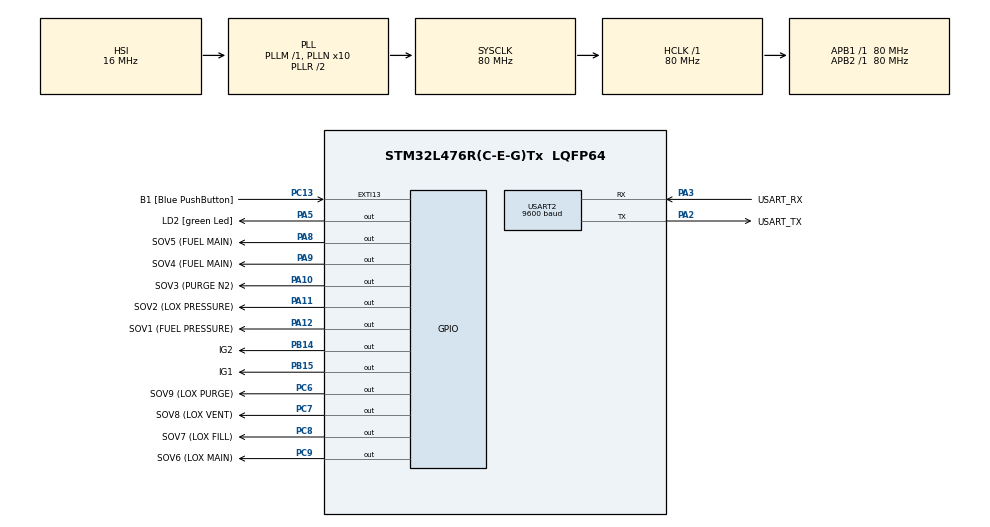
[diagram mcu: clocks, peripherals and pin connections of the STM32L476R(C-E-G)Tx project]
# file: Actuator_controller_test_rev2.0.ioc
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Mcu.Family=STM32L4
Mcu.Name=STM32L476R(C-E-G)Tx
Mcu.Package=LQFP64
NVIC.PriorityGroup=NVIC_PRIORITYGROUP_4
NVIC.USART2_IRQn=true\:0\:0\:false\:false\:true\:true\:true
PA10.GPIO_Label=SOV3 (PURGE N2)
PA10.Signal=GPIO_Output
PA11.GPIO_Label=SOV2 (LOX PRESSURE)
PA11.Signal=GPIO_Output
PA12.GPIO_Label=SOV1 (FUEL PRESSURE)
PA12.Signal=GPIO_Output
PA13\ (JTMS-SWDIO).GPIO_Label=TMS
PA13\ (JTMS-SWDIO).Mode=Serial_Wire
PA13\ (JTMS-SWDIO).Signal=SYS_JTMS-SWDIO
PA14\ (JTCK-SWCLK).GPIO_Label=TCK
PA14\ (JTCK-SWCLK).Mode=Serial_Wire
PA14\ (JTCK-SWCLK).Signal=SYS_JTCK-SWCLK
PA2.GPIO_Label=USART_TX
PA2.GPIO_Mode=GPIO_MODE_AF_PP
PA2.GPIO_PuPd=GPIO_NOPULL
PA2.GPIO_Speed=GPIO_SPEED_FREQ_VERY_HIGH
PA2.Mode=Asynchronous
PA2.Signal=USART2_TX
PA3.GPIO_Label=USART_RX
PA3.GPIO_Mode=GPIO_MODE_AF_PP
PA3.GPIO_PuPd=GPIO_NOPULL
PA3.GPIO_Speed=GPIO_SPEED_FREQ_VERY_HIGH
PA3.Mode=Asynchronous
PA3.Signal=USART2_RX
PA5.GPIO_Label=LD2 [green Led]
PA5.GPIO_ModeDefaultOutputPP=GPIO_MODE_OUTPUT_PP
PA5.GPIO_PuPd=GPIO_NOPULL
PA5.GPIO_Speed=GPIO_SPEED_FREQ_LOW
PA5.Signal=GPIO_Output
PA8.GPIO_Label=SOV5 (FUEL MAIN)
PA8.Signal=GPIO_Output
PA9.GPIO_Label=SOV4 (FUEL MAIN)
PA9.Signal=GPIO_Output
PB14.GPIO_Label=IG2
PB14.Signal=GPIO_Output
PB15.GPIO_Label=IG1
PB15.Signal=GPIO_Output
PB3\ (JTDO-TRACESWO).GPIO_Label=SWO
PB3\ (JTDO-TRACESWO).Signal=SYS_JTDO-SWO
PC13.GPIO_Label=B1 [Blue PushButton]
PC13.GPIO_ModeDefaultEXTI=GPIO_MODE_IT_FALLING
PC13.GPIO_PuPd=GPIO_NOPULL
PC13.Signal=GPXTI13
PC14-OSC32_IN\ (PC14).Mode=LSE-External-Oscillator
PC14-OSC32_IN\ (PC14).Signal=RCC_OSC32_IN
PC15-OSC32_OUT\ (PC15).Mode=LSE-External-Oscillator
PC15-OSC32_OUT\ (PC15).Signal=RCC_OSC32_OUT
PC6.GPIO_Label=SOV9 (LOX PURGE)
PC6.Signal=GPIO_Output
PC7.GPIO_Label=SOV8 (LOX VENT)
PC7.Signal=GPIO_Output
PC8.GPIO_Label=SOV7 (LOX FILL)
PC8.Signal=GPIO_Output
PC9.GPIO_Label=SOV6 (LOX MAIN)
PC9.Signal=GPIO_Output
PH0-OSC_IN\ (PH0).Signal=RCC_OSC_IN
PH1-OSC_OUT\ (PH1).Signal=RCC_OSC_OUT
ProjectManager.HeapSize=0x200
ProjectManager.StackSize=0x400
ProjectManager.TargetToolchain=STM32CubeIDE
RCC.ADCFreq_Value=64000000
RCC.AHBFreq_Value=80000000
RCC.APB1Freq_Value=80000000
RCC.APB1TimFreq_Value=80000000
RCC.APB2Freq_Value=80000000
RCC.APB2TimFreq_Value=80000000
RCC.CortexFreq_Value=80000000
RCC.HCLKFreq_Value=80000000
RCC.HSE_VALUE=8000000
RCC.HSI_VALUE=16000000
RCC.MSI_VALUE=4000000
RCC.PLLN=10
RCC.PLLSourceVirtual=RCC_PLLSOURCE_HSI
RCC.PREFETCH_ENABLE=1
RCC.SYSCLKFreq_VALUE=80000000
RCC.SYSCLKSource=RCC_SYSCLKSOURCE_PLLCLK
RCC.USBFreq_Value=64000000
RCC.VCOOutputFreq_Value=160000000
USART2.BaudRate=9600
USART2.VirtualMode-Asynchronous=VM_ASYNC
board=NUCLEO-L476RG

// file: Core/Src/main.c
/* USER CODE BEGIN Header */
/**
  ******************************************************************************
  * @file           : main.c
  * @brief          : Main program body
  ******************************************************************************
  * @attention
  *
  * <h2><center>&copy; Copyright (c) 2021 STMicroelectronics.
  * All rights reserved.</center></h2>
  *
  * This software component is licensed by ST under BSD 3-Clause license,
  * the "License"; You may not use this file except in compliance with the
  * License. You may obtain a copy of the License at:
  *                        opensource.org/licenses/BSD-3-Clause
  *
  ******************************************************************************
  */
/* USER CODE END Header */
#include "main.h"

UART_HandleTypeDef huart2;

/* USER CODE BEGIN PV */
int len, command;
char buffer[100], Tx_buffer[100];
char Rx_indx, Rx_data[2], Rx_Buffer[100], Transfer_cplt ;
int sov1 = 0, sov2= 0, sov3= 0, sov4= 0, sov5= 0, sov6= 0, sov7= 0, sov8= 0, sov9=0, ig1= 0, ig2 =0 ;

/* USER CODE END PV */

void SystemClock_Config(void);
static void MX_GPIO_Init(void);
static void MX_USART2_UART_Init(void);
/* USER CODE BEGIN PFP */
//Interrupt callback routine
void HAL_UART_RxCpltCallback(UART_HandleTypeDef *huart)
{
    uint8_t i;
    if (huart->Instance == USART2)
        {
        if (Rx_indx==0) {for (i=0;i<100;i++) Rx_Buffer[i]=0;}   //clear Rx_Buffer before receiving new data

        if (Rx_data[0] != 13) //if received data different from ascii 13 (enter)
            {
            Rx_Buffer[Rx_indx++]=Rx_data[0];    //add data to Rx_Buffer
            }
        else            //if received data = 13
            {
            Rx_indx=0;
            Transfer_cplt = 1;//transfer complete, data is ready to read
            }

        HAL_UART_Receive_IT(&huart2, Rx_data, 1);   //activate UART receive interrupt every time
        }

}
// Transmit function
void Tx_serial(Tx_buffer)
{
	  sprintf(buffer, Tx_buffer);
	  len =strlen(buffer);
	  HAL_UART_Transmit(&huart2, buffer, len, 1000);
	  Transfer_cplt=0; //Set to 0 to reset the transfer_complete variable

}

/* USER CODE END PFP */

int main(void)
{

  /* MCU Configuration--------------------------------------------------------*/

  /* Reset of all peripherals, Initializes the Flash interface and the Systick. */
  HAL_Init();

  /* Configure the system clock */
  SystemClock_Config();

  /* Initialize all configured peripherals */
  MX_GPIO_Init();
  MX_USART2_UART_Init();
  /* USER CODE BEGIN 2 */

  HAL_UART_Receive_IT(&huart2,Rx_data, 1); // Asserts UART Interrupt every time 1 byte is received.

  /* USER CODE END 2 */

  /* Infinite loop */
  while (1)
  {

    /* USER CODE BEGIN 3 */
	  if (Transfer_cplt)
	      {
	     	 command = atoi(Rx_Buffer);

	     	 switch (command){
	     	 	 case 1:
	     	 		//Turn ON           //For testing with LD2
	     	 			     	 		HAL_GPIO_WritePin(GPIOA, GPIO_PIN_12, GPIO_PIN_SET);

	     	 			     	 	  //Checking if the GPIO pin is high in case of errors
	     	 			     	 	  if (HAL_GPIO_ReadPin(GPIOA, GPIO_PIN_12) == GPIO_PIN_SET)
	     	 			     	 	  	  {
	     	 			     	 	  	     	 //Tx_serial("Valve SOV1 is ON..\r\n");
	     	 			     	 	  	     	 sov1 = 1;
	     	 			     	 	  	   }
	     	 			     	 	  	else if (HAL_GPIO_ReadPin(GPIOA, GPIO_PIN_12) == GPIO_PIN_RESET)
	     	 			     	 	  	{
	     	 			     	 	  	    // GPIO pin was low reattempting to set high
	     	 			     	 	  	    HAL_GPIO_WritePin(GPIOA, GPIO_PIN_12, GPIO_PIN_SET);
	     	 			     	 	  	    sov1 = 1;
	     	 			     	 	  	}

	     	 	    Transfer_cplt=0; //Set to 0 to reset the transfer_complete variable
	     	 		break;

	     	 	 case 2:
	     	 		 //Turn OFF
	     	 			     	 		HAL_GPIO_WritePin(GPIOA, GPIO_PIN_12, GPIO_PIN_RESET);

	     	 			     	 		//Checking if the GPIO pin is high
	     	 			     	 	    if (HAL_GPIO_ReadPin(GPIOA, GPIO_PIN_12) == GPIO_PIN_SET)
	     	 			     	 	    {
	     	 			     	 	    	      HAL_GPIO_WritePin(GPIOA, GPIO_PIN_12, GPIO_PIN_RESET);
	     	 			     	 			      sov1 = 0;
	     	 			     	 	     }
	     	 			     	 	    else if (HAL_GPIO_ReadPin(GPIOA, GPIO_PIN_12) == GPIO_PIN_RESET)
	     	 			     	 		{
	     	 			     	 			  sov1 = 0;

	     	 			     	 		}

	     	 		Transfer_cplt=0; //Set to 0 to reset the transfer_complete variable
	     	 		break;
	     	 	 case 3:
	     	 		//Turn ON
	     	 			     	 		HAL_GPIO_WritePin(GPIOA, GPIO_PIN_11, GPIO_PIN_SET);

	     	 			     	 	  //Checking if the GPIO pin is high in case of errors
	     	 			     	 	  if (HAL_GPIO_ReadPin(GPIOA, GPIO_PIN_11) == GPIO_PIN_SET)
	     	 			     	 	  	  {
	     	 			     	 	  	     	 //Tx_serial("Valve SOV1 is ON..\r\n");
	     	 			     	 	  	     	 sov2 = 1;
	     	 			     	 	  	   }
	     	 			     	 	  	else if (HAL_GPIO_ReadPin(GPIOA, GPIO_PIN_11) == GPIO_PIN_RESET)
	     	 			     	 	  	{
	     	 			     	 	  	    // GPIO pin was low reattempting to set high
	     	 			     	 	  	    HAL_GPIO_WritePin(GPIOA, GPIO_PIN_11, GPIO_PIN_SET);
	     	 			     	 	  	    sov2 = 1;
	     	 			     	 	  	}

	     	 		Transfer_cplt=0; //Set to 0 to reset the transfer_complete variable
	     	 		break;
	     	 	 case 4:
	     	 		 //Turn OFF
	     	 			     	 		HAL_GPIO_WritePin(GPIOA, GPIO_PIN_11, GPIO_PIN_RESET);

	     	 			     	 		//Checking if the GPIO pin is high
	     	 			     	 	    if (HAL_GPIO_ReadPin(GPIOA, GPIO_PIN_11) == GPIO_PIN_SET)
	     	 			     	 	    {
	     	 			     	 	    	      HAL_GPIO_WritePin(GPIOA, GPIO_PIN_11, GPIO_PIN_RESET);
	     	 			     	 			      sov2 = 0;
	     	 			     	 	     }
	     	 			     	 	    else if (HAL_GPIO_ReadPin(GPIOA, GPIO_PIN_11) == GPIO_PIN_RESET)
	     	 			     	 		{
	     	 			     	 			  sov2 = 0;

	     	 			     	 		}

	     	 		Transfer_cplt=0; //Set to 0 to reset the transfer_complete variable
	     	 		break;
	     	 	 case 5:
	     	 		                    //Turn ON
	     	 			     	 		HAL_GPIO_WritePin(GPIOA, GPIO_PIN_10, GPIO_PIN_SET);

	     	 			     	 	  //Checking if the GPIO pin is high in case of errors
	     	 			     	 	  if (HAL_GPIO_ReadPin(GPIOA, GPIO_PIN_10) == GPIO_PIN_SET)
	     	 			     	 	  	  {
	     	 			     	 	  	     	 //Tx_serial("Valve SOV1 is ON..\r\n");
	     	 			     	 	  	     	 sov3 = 1;
	     	 			     	 	  	   }
	     	 			     	 	  	else if (HAL_GPIO_ReadPin(GPIOA, GPIO_PIN_10) == GPIO_PIN_RESET)
	     	 			     	 	  	{
	     	 			     	 	  	    // GPIO pin was low reattempting to set high
	     	 			     	 	  	    HAL_GPIO_WritePin(GPIOA, GPIO_PIN_10, GPIO_PIN_SET);
	     	 			     	 	  	    sov3 = 1;
	     	 			     	 	  	}

	     	 		Transfer_cplt=0;
	     	 		break;
	     	 	 case 6:
	     	 		                     //Turn OFF
	     	 			     	 		 HAL_GPIO_WritePin(GPIOA, GPIO_PIN_10, GPIO_PIN_RESET);

	     	 			     	 		//Checking if the GPIO pin is high
	     	 			     	 		if (HAL_GPIO_ReadPin(GPIOA, GPIO_PIN_10) == GPIO_PIN_SET)
	     	 			     	 		{
	     	 			     	 			 HAL_GPIO_WritePin(GPIOA, GPIO_PIN_10, GPIO_PIN_RESET);
	     	 			     	 			 sov3 = 0;
	     	 			     	 		}
	     	 			     	 		else if (HAL_GPIO_ReadPin(GPIOA, GPIO_PIN_10) == GPIO_PIN_RESET)
	     	 			     	 		{
	     	 			     	 			  sov3 = 0;

	     	 			     	 		}
	     	 		Transfer_cplt=0;
	     	 		break;
	     	 	 case 7:
	     	 		                   //Turn ON
	     	 			     	 		HAL_GPIO_WritePin(GPIOA, GPIO_PIN_9, GPIO_PIN_SET);

	     	 			     	 		//Checking if the GPIO pin is high in case of errors
	     	 			     	 		if (HAL_GPIO_ReadPin(GPIOA, GPIO_PIN_9) == GPIO_PIN_SET)
	     	 			     	 			{
	     	 			     	 			     	 sov4 = 1;
	     	 			     	 			 }
	     	 			     	 		else if (HAL_GPIO_ReadPin(GPIOA, GPIO_PIN_9) == GPIO_PIN_RESET)
	     	 			     	 			  {
	     	 			     	 			      // GPIO pin was low reattempting to set high
	     	 			     	 			     HAL_GPIO_WritePin(GPIOA, GPIO_PIN_9, GPIO_PIN_SET);
	     	 			     	 			     sov4 = 1;
	     	 			     	 			    }
	     	    	Transfer_cplt=0;
	     	    	 break;
	     	 	 case 8:
	     	 		                     //Turn OFF
	     	 			     	 		 HAL_GPIO_WritePin(GPIOA, GPIO_PIN_9, GPIO_PIN_RESET);

	     	 			     	 		//Checking if the GPIO pin is high
	     	 			     	 		if (HAL_GPIO_ReadPin(GPIOA, GPIO_PIN_9) == GPIO_PIN_SET)
	     	 			     	 		{
	     	 			     	 			 HAL_GPIO_WritePin(GPIOA, GPIO_PIN_9, GPIO_PIN_RESET);
	     	 			     	 			 sov4 = 0;
	     	 			     	 		}
	     	 			     	 		else if (HAL_GPIO_ReadPin(GPIOA, GPIO_PIN_9) == GPIO_PIN_RESET)
	     	 			     	 		{
	     	 			     	 			  sov4 = 0;

	     	 			     	 		}

	     	    	 Transfer_cplt=0;
	     	    	 break;
	     	 	 case 9:
	     	 		//Turn ON
	     	 			     	 		HAL_GPIO_WritePin(GPIOA, GPIO_PIN_8, GPIO_PIN_SET);

	     	 			     	 	  //Checking if the GPIO pin is high in case of errors
	     	 			     	 	  if (HAL_GPIO_ReadPin(GPIOA, GPIO_PIN_8) == GPIO_PIN_SET)
	     	 			     	 	  	  {
	     	 			     	 	  	     	 //Tx_serial("Valve SOV1 is ON..\r\n");
	     	 			     	 	  	     	 sov5 = 1;
	     	 			     	 	  	   }
	     	 			     	 	  	else if (HAL_GPIO_ReadPin(GPIOA, GPIO_PIN_8) == GPIO_PIN_RESET)
	     	 			     	 	  	{
	     	 			     	 	  	    // GPIO pin was low reattempting to set high
	     	 			     	 	  	    HAL_GPIO_WritePin(GPIOA, GPIO_PIN_8, GPIO_PIN_SET);
	     	 			     	 	  	    sov5 = 1;
	     	 			     	 	  	}

	     	    	 Transfer_cplt=0;
	     	    	 break;
	     	 	 case 10:
	     	 		 //Turn OFF
	     	 			     	 		HAL_GPIO_WritePin(GPIOA, GPIO_PIN_8, GPIO_PIN_RESET);

	     	 			     	 		//Checking if the GPIO pin is high
	     	 			     	 	    if (HAL_GPIO_ReadPin(GPIOA, GPIO_PIN_8) == GPIO_PIN_SET)
	     	 			     	 	    {
	     	 			     	 	    	      HAL_GPIO_WritePin(GPIOA, GPIO_PIN_8, GPIO_PIN_RESET);
	     	 			     	 			      sov5 = 0;
	     	 			     	 	     }
	     	 			     	 	    else if (HAL_GPIO_ReadPin(GPIOA, GPIO_PIN_8) == GPIO_PIN_RESET)
	     	 			     	 		{
	     	 			     	 			  sov5 = 0;

	     	 			     	 		}
	     	 		Transfer_cplt=0;
	     	 		break;
	     	 	 case 11:
	     	 		//Turn ON
	     	 			     	 		HAL_GPIO_WritePin(GPIOC, GPIO_PIN_9, GPIO_PIN_SET);

	     	 			     	 	  //Checking if the GPIO pin is high in case of errors
	     	 			     	 	  if (HAL_GPIO_ReadPin(GPIOC, GPIO_PIN_9) == GPIO_PIN_SET)
	     	 			     	 	  	  {
	     	 			     	 	  	     	 //Tx_serial("Valve SOV1 is ON..\r\n");
	     	 			     	 	  	     	 sov6 = 1;
	     	 			     	 	  	   }
	     	 			     	 	  	else if (HAL_GPIO_ReadPin(GPIOC, GPIO_PIN_9) == GPIO_PIN_RESET)
	     	 			     	 	  	{
	     	 			     	 	  	    // GPIO pin was low reattempting to set high
	     	 			     	 	  	    HAL_GPIO_WritePin(GPIOC, GPIO_PIN_9, GPIO_PIN_SET);
	     	 			     	 	  	    sov6 = 1;
	     	 			     	 	  	}

	     	 		Transfer_cplt=0;
	     	 		break;
	     	 	 case 12:
	     	 		 //Turn OFF
	     	 			     	 		HAL_GPIO_WritePin(GPIOC, GPIO_PIN_9, GPIO_PIN_RESET);

	     	 			     	 		//Checking if the GPIO pin is high
	     	 			     	 	    if (HAL_GPIO_ReadPin(GPIOC, GPIO_PIN_9) == GPIO_PIN_SET)
	     	 			     	 	    {
	     	 			     	 	    	      HAL_GPIO_WritePin(GPIOC, GPIO_PIN_9, GPIO_PIN_RESET);
	     	 			     	 			      sov6 = 0;
	     	 			     	 	     }
	     	 			     	 	    else if (HAL_GPIO_ReadPin(GPIOC, GPIO_PIN_9) == GPIO_PIN_RESET)
	     	 			     	 		{
	     	 			     	 			  sov6 = 0;

	     	 			     	 		}
	     	 	     Transfer_cplt=0;
	     	 		 break;
	     	 	 case 13:
	     	 		//Turn ON
	     	 			     	 		HAL_GPIO_WritePin(GPIOC, GPIO_PIN_8, GPIO_PIN_SET);

	     	 			     	 	  //Checking if the GPIO pin is high in case of errors
	     	 			     	 	  if (HAL_GPIO_ReadPin(GPIOC, GPIO_PIN_8) == GPIO_PIN_SET)
	     	 			     	 	  	  {
	     	 			     	 	  	     	 //Tx_serial("Valve SOV1 is ON..\r\n");
	     	 			     	 	  	     	 sov7 = 1;
	     	 			     	 	  	   }
	     	 			     	 	  	else if (HAL_GPIO_ReadPin(GPIOC, GPIO_PIN_8) == GPIO_PIN_RESET)
	     	 			     	 	  	{
	     	 			     	 	  	    // GPIO pin was low reattempting to set high
	     	 			     	 	  	    HAL_GPIO_WritePin(GPIOC, GPIO_PIN_8, GPIO_PIN_SET);
	     	 			     	 	  	    sov7 = 1;
	     	 			     	 	  	}

	     	 		Transfer_cplt=0;
	     	 		break;
	     	 	 case 14:
	     	 		 //Turn OFF
	     	 			     	 		HAL_GPIO_WritePin(GPIOC, GPIO_PIN_8, GPIO_PIN_RESET);

	     	 			     	 		//Checking if the GPIO pin is high
	     	 			     	 	    if (HAL_GPIO_ReadPin(GPIOC, GPIO_PIN_8) == GPIO_PIN_SET)
	     	 			     	 	    {
	     	 			     	 	    	      HAL_GPIO_WritePin(GPIOC, GPIO_PIN_8, GPIO_PIN_RESET);
	     	 			     	 			      sov7 = 0;
	     	 			     	 	     }
	     	 			     	 	    else if (HAL_GPIO_ReadPin(GPIOC, GPIO_PIN_8) == GPIO_PIN_RESET)
	     	 			     	 		{
	     	 			     	 			  sov7 = 0;

	     	 			     	 		}
	     	 		Transfer_cplt=0;
	     	 		break;
	     	 	 case 15:
	     	 		//Turn ON
	     	 			     	 		HAL_GPIO_WritePin(GPIOC, GPIO_PIN_7, GPIO_PIN_SET);

	     	 			     	 	  //Checking if the GPIO pin is high in case of errors
	     	 			     	 	  if (HAL_GPIO_ReadPin(GPIOC, GPIO_PIN_7) == GPIO_PIN_SET)
	     	 			     	 	  	  {
	     	 			     	 	  	     	 //Tx_serial("Valve SOV1 is ON..\r\n");
	     	 			     	 	  	     	 sov8 = 1;
	     	 			     	 	  	   }
	     	 			     	 	  	else if (HAL_GPIO_ReadPin(GPIOC, GPIO_PIN_7) == GPIO_PIN_RESET)
	     	 			     	 	  	{
	     	 			     	 	  	    // GPIO pin was low reattempting to set high
	     	 			     	 	  	    HAL_GPIO_WritePin(GPIOC, GPIO_PIN_7, GPIO_PIN_SET);
	     	 			     	 	  	    sov8 = 1;
	     	 			     	 	  	}

	     	 		Transfer_cplt=0;
	     	 		break;
	     	 	 case 16:
	     	 		 //Turn OFF
	     	 			     	 		HAL_GPIO_WritePin(GPIOC, GPIO_PIN_7, GPIO_PIN_RESET);

	     	 			     	 		//Checking if the GPIO pin is high
	     	 			     	 	    if (HAL_GPIO_ReadPin(GPIOC, GPIO_PIN_7) == GPIO_PIN_SET)
	     	 			     	 	    {
	     	 			     	 	    	      HAL_GPIO_WritePin(GPIOC, GPIO_PIN_7, GPIO_PIN_RESET);
	     	 			     	 			      sov8 = 0;
	     	 			     	 	     }
	     	 			     	 	    else if (HAL_GPIO_ReadPin(GPIOC, GPIO_PIN_7) == GPIO_PIN_RESET)
	     	 			     	 		{
	     	 			     	 			  sov8 = 0;

	     	 			     	 		}
	     	 		Transfer_cplt=0;
	     	 		break;
	     	 	 case 17:
	     	 		//Turn ON
	     	 			     	 		HAL_GPIO_WritePin(GPIOC, GPIO_PIN_6, GPIO_PIN_SET);

	     	 			     	 	  //Checking if the GPIO pin is high in case of errors
	     	 			     	 	  if (HAL_GPIO_ReadPin(GPIOC, GPIO_PIN_6) == GPIO_PIN_SET)
	     	 			     	 	  	  {
	     	 			     	 	  	     	 //Tx_serial("Valve SOV1 is ON..\r\n");
	     	 			     	 	  	     	 sov9 = 1;
	     	 			     	 	  	   }
	     	 			     	 	  	else if (HAL_GPIO_ReadPin(GPIOC, GPIO_PIN_6) == GPIO_PIN_RESET)
	     	 			     	 	  	{
	     	 			     	 	  	    // GPIO pin was low reattempting to set high
	     	 			     	 	  	    HAL_GPIO_WritePin(GPIOC, GPIO_PIN_6, GPIO_PIN_SET);
	     	 			     	 	  	    sov9 = 1;
	     	 			     	 	  	}

	     	 		Transfer_cplt=0;
	     	 		break;
	     	 	 case 18:
	     	 		 //Turn OFF
	     	 			     	 		HAL_GPIO_WritePin(GPIOC, GPIO_PIN_6, GPIO_PIN_RESET);

	     	 			     	 		//Checking if the GPIO pin is high
	     	 			     	 	    if (HAL_GPIO_ReadPin(GPIOC, GPIO_PIN_6) == GPIO_PIN_SET)
	     	 			     	 	    {
	     	 			     	 	    	      HAL_GPIO_WritePin(GPIOC, GPIO_PIN_6, GPIO_PIN_RESET);
	     	 			     	 			      sov9 = 0;
	     	 			     	 	     }
	     	 			     	 	    else if (HAL_GPIO_ReadPin(GPIOC, GPIO_PIN_6) == GPIO_PIN_RESET)
	     	 			     	 		{
	     	 			     	 			  sov9 = 0;

	     	 			     	 		}
	     	 		Transfer_cplt=0;
	     	 		break;
	     	 	 case 19:
	     	 		//Turn ON
	     	 			     	 		HAL_GPIO_WritePin(GPIOB, GPIO_PIN_15, GPIO_PIN_SET);

	     	 			     	 	  //Checking if the GPIO pin is high in case of errors
	     	 			     	 	  if (HAL_GPIO_ReadPin(GPIOB, GPIO_PIN_15) == GPIO_PIN_SET)
	     	 			     	 	  	  {
	     	 			     	 	  	     	 //Tx_serial("Valve SOV1 is ON..\r\n");
	     	 			     	 	  	     	 ig1 = 1;
	     	 			     	 	  	   }
	     	 			     	 	  	else if (HAL_GPIO_ReadPin(GPIOB, GPIO_PIN_15) == GPIO_PIN_RESET)
	     	 			     	 	  	{
	     	 			     	 	  	    // GPIO pin was low reattempting to set high
	     	 			     	 	  	    HAL_GPIO_WritePin(GPIOB, GPIO_PIN_15, GPIO_PIN_SET);
	     	 			     	 	  	    ig1 = 1;
	     	 			     	 	  	}

	     	    	Transfer_cplt=0;
	     	    	 break;
	     	 	 case 20:
	     	 		 //Turn OFF
	     	 			     	 		HAL_GPIO_WritePin(GPIOB, GPIO_PIN_15, GPIO_PIN_RESET);

	     	 			     	 		//Checking if the GPIO pin is high
	     	 			     	 	    if (HAL_GPIO_ReadPin(GPIOB, GPIO_PIN_15) == GPIO_PIN_SET)
	     	 			     	 	    {
	     	 			     	 	    	      HAL_GPIO_WritePin(GPIOB, GPIO_PIN_15, GPIO_PIN_RESET);
	     	 			     	 			      ig1 = 0;
	     	 			     	 	     }
	     	 			     	 	    else if (HAL_GPIO_ReadPin(GPIOB, GPIO_PIN_15) == GPIO_PIN_RESET)
	     	 			     	 		{
	     	 			     	 			  ig1 = 0;

	     	 			     	 		}
	     	    	Transfer_cplt=0;
	     	    	 break;

	     	 	 case 21:
	     	 		//Turn ON
	     	 			     	 		HAL_GPIO_WritePin(GPIOB, GPIO_PIN_14, GPIO_PIN_SET);

	     	 			     	 	  //Checking if the GPIO pin is high in case of errors
	     	 			     	 	  if (HAL_GPIO_ReadPin(GPIOB, GPIO_PIN_14) == GPIO_PIN_SET)
	     	 			     	 	  	  {
	     	 			     	 	  	     	 //Tx_serial("Valve SOV1 is ON..\r\n");
	     	 			     	 	  	     	 ig2 = 1;
	     	 			     	 	  	   }
	     	 			     	 	  	else if (HAL_GPIO_ReadPin(GPIOB, GPIO_PIN_14) == GPIO_PIN_RESET)
	     	 			     	 	  	{
	     	 			     	 	  	    // GPIO pin was low reattempting to set high
	     	 			     	 	  	    HAL_GPIO_WritePin(GPIOB, GPIO_PIN_14, GPIO_PIN_SET);
	     	 			     	 	  	    ig2 = 1;
	     	 			     	 	  	}

	     	    	Transfer_cplt=0;
	     	    	 break;
	     	 	 case 22:
	     	 		 //Turn OFF
	     	 			     	 		HAL_GPIO_WritePin(GPIOB, GPIO_PIN_14, GPIO_PIN_RESET);

	     	 			     	 		//Checking if the GPIO pin is high
	     	 			     	 	    if (HAL_GPIO_ReadPin(GPIOB, GPIO_PIN_14) == GPIO_PIN_SET)
	     	 			     	 	    {
	     	 			     	 	    	      HAL_GPIO_WritePin(GPIOB, GPIO_PIN_14, GPIO_PIN_RESET);
	     	 			     	 			      ig2 = 0;
	     	 			     	 	     }
	     	 			     	 	    else if (HAL_GPIO_ReadPin(GPIOB, GPIO_PIN_14) == GPIO_PIN_RESET)
	     	 			     	 		{
	     	 			     	 			  ig2 = 0;

	     	 			     	 		}
	     	    	Transfer_cplt=0;
	     	    	 break;

	     	 	 case 23:
	     	 		// Status
	     	 		sprintf(buffer,"\n*** Valves and Igniters Status ***\r\n\n SOV1: %d\r\n SOV2: %d\r\n SOV3: %d\r\n SOV4: %d\r\n SOV5: %d\r\n SOV6: %d\r\n SOV7: %d\r\n SOV8: %d\r\n SOV9: %d\r\n IG1:  %d\r\n IG2:  %d\r\n", sov1, sov2, sov3, sov4, sov5, sov6, sov7, sov8, sov9, ig1, ig2);
	     	 		len =strlen(buffer);
	     	 		HAL_UART_Transmit(&huart2, buffer, len, 1000);

	     	 		//HAL_Delay(600);

	     	 		Transfer_cplt=0; //Set to 0 to reset the transfer_complete variable
	     	 		break;

	     	 	 case 24:
	                 //Exiting the python script means turning off all the valves and igniters
	     	 		sov1 = 0, sov2= 0, sov3= 0, sov4= 0, sov5= 0, sov6= 0, sov7= 0, sov8= 0,sov9= 0, ig1= 0, ig2 =0;

	     	 		HAL_GPIO_WritePin(GPIOA, GPIO_PIN_12, 0);
	     	 		HAL_GPIO_WritePin(GPIOA, GPIO_PIN_11, 0);
	     	 		HAL_GPIO_WritePin(GPIOA, GPIO_PIN_10, 0);
	     	 		HAL_GPIO_WritePin(GPIOA, GPIO_PIN_9, 0);
	     	 		HAL_GPIO_WritePin(GPIOA, GPIO_PIN_8, 0);
	     	 		HAL_GPIO_WritePin(GPIOC, GPIO_PIN_9, 0);
	     	 		HAL_GPIO_WritePin(GPIOC, GPIO_PIN_8, 0);
	     	 		HAL_GPIO_WritePin(GPIOC, GPIO_PIN_7, 0);
	     	 		HAL_GPIO_WritePin(GPIOC, GPIO_PIN_6, 0);
	     	 		HAL_GPIO_WritePin(GPIOB, GPIO_PIN_15, 0);
	     	 		HAL_GPIO_WritePin(GPIOB, GPIO_PIN_14, 0);

	     	 		Transfer_cplt=0; //Set to 0 to reset the transfer_complete variable
	     	 		//After setting the status we can proceed to turn low all the GPIOs used.
	     	 	    break;

	     	 	 default:
	     	 		Tx_serial("Please enter a valid command...\r\n");

	     	 }

	         }// end of if(Transfer_cplt)

  }
  /* USER CODE END 3 */
}

void SystemClock_Config(void)
{
  RCC_OscInitTypeDef RCC_OscInitStruct = {0};
  RCC_ClkInitTypeDef RCC_ClkInitStruct = {0};
  RCC_PeriphCLKInitTypeDef PeriphClkInit = {0};

  /** Initializes the RCC Oscillators according to the specified parameters
  * in the RCC_OscInitTypeDef structure.
  */
  RCC_OscInitStruct.OscillatorType = RCC_OSCILLATORTYPE_HSI;
  RCC_OscInitStruct.HSIState = RCC_HSI_ON;
  RCC_OscInitStruct.HSICalibrationValue = RCC_HSICALIBRATION_DEFAULT;
  RCC_OscInitStruct.PLL.PLLState = RCC_PLL_ON;
  RCC_OscInitStruct.PLL.PLLSource = RCC_PLLSOURCE_HSI;
  RCC_OscInitStruct.PLL.PLLM = 1;
  RCC_OscInitStruct.PLL.PLLN = 10;
  RCC_OscInitStruct.PLL.PLLP = RCC_PLLP_DIV7;
  RCC_OscInitStruct.PLL.PLLQ = RCC_PLLQ_DIV2;
  RCC_OscInitStruct.PLL.PLLR = RCC_PLLR_DIV2;
  if (HAL_RCC_OscConfig(&RCC_OscInitStruct) != HAL_OK)
  {
    Error_Handler();
  }
  /** Initializes the CPU, AHB and APB buses clocks
  */
  RCC_ClkInitStruct.ClockType = RCC_CLOCKTYPE_HCLK|RCC_CLOCKTYPE_SYSCLK
                              |RCC_CLOCKTYPE_PCLK1|RCC_CLOCKTYPE_PCLK2;
  RCC_ClkInitStruct.SYSCLKSource = RCC_SYSCLKSOURCE_PLLCLK;
  RCC_ClkInitStruct.AHBCLKDivider = RCC_SYSCLK_DIV1;
  RCC_ClkInitStruct.APB1CLKDivider = RCC_HCLK_DIV1;
  RCC_ClkInitStruct.APB2CLKDivider = RCC_HCLK_DIV1;

  if (HAL_RCC_ClockConfig(&RCC_ClkInitStruct, FLASH_LATENCY_4) != HAL_OK)
  {
    Error_Handler();
  }
  PeriphClkInit.PeriphClockSelection = RCC_PERIPHCLK_USART2;
  PeriphClkInit.Usart2ClockSelection = RCC_USART2CLKSOURCE_PCLK1;
  if (HAL_RCCEx_PeriphCLKConfig(&PeriphClkInit) != HAL_OK)
  {
    Error_Handler();
  }
  /** Configure the main internal regulator output voltage
  */
  if (HAL_PWREx_ControlVoltageScaling(PWR_REGULATOR_VOLTAGE_SCALE1) != HAL_OK)
  {
    Error_Handler();
  }
}

static void MX_USART2_UART_Init(void)
{

  huart2.Instance = USART2;
  huart2.Init.BaudRate = 9600;
  huart2.Init.WordLength = UART_WORDLENGTH_8B;
  huart2.Init.StopBits = UART_STOPBITS_1;
  huart2.Init.Parity = UART_PARITY_NONE;
  huart2.Init.Mode = UART_MODE_TX_RX;
  huart2.Init.HwFlowCtl = UART_HWCONTROL_NONE;
  huart2.Init.OverSampling = UART_OVERSAMPLING_16;
  huart2.Init.OneBitSampling = UART_ONE_BIT_SAMPLE_DISABLE;
  huart2.AdvancedInit.AdvFeatureInit = UART_ADVFEATURE_NO_INIT;
  if (HAL_UART_Init(&huart2) != HAL_OK)
  {
    Error_Handler();
  }

}

static void MX_GPIO_Init(void)
{
  GPIO_InitTypeDef GPIO_InitStruct = {0};

  /* GPIO Ports Clock Enable */
  __HAL_RCC_GPIOC_CLK_ENABLE();
  __HAL_RCC_GPIOH_CLK_ENABLE();
  __HAL_RCC_GPIOA_CLK_ENABLE();
  __HAL_RCC_GPIOB_CLK_ENABLE();

  /*Configure GPIO pin Output Level */
  HAL_GPIO_WritePin(GPIOA, LD2_Pin|SOV5_Pin|SOV4_Pin|SOV3_Pin
                          |SOV2_Pin|SOV1_Pin, GPIO_PIN_RESET);

  /*Configure GPIO pin Output Level */
  HAL_GPIO_WritePin(GPIOB, IG2_Pin|IG1_Pin, GPIO_PIN_RESET);

  /*Configure GPIO pin Output Level */
  HAL_GPIO_WritePin(GPIOC, SOV9_Pin|SOV8_Pin|SOV7_Pin|SOV6_Pin, GPIO_PIN_RESET);

  /*Configure GPIO pin : B1_Pin */
  GPIO_InitStruct.Pin = B1_Pin;
  GPIO_InitStruct.Mode = GPIO_MODE_IT_FALLING;
  GPIO_InitStruct.Pull = GPIO_NOPULL;
  HAL_GPIO_Init(B1_GPIO_Port, &GPIO_InitStruct);

  /*Configure GPIO pins : LD2_Pin SOV5_Pin SOV4_Pin SOV3_Pin
                           SOV2_Pin SOV1_Pin */
  GPIO_InitStruct.Pin = LD2_Pin|SOV5_Pin|SOV4_Pin|SOV3_Pin
                          |SOV2_Pin|SOV1_Pin;
  GPIO_InitStruct.Mode = GPIO_MODE_OUTPUT_PP;
  GPIO_InitStruct.Pull = GPIO_NOPULL;
  GPIO_InitStruct.Speed = GPIO_SPEED_FREQ_LOW;
  HAL_GPIO_Init(GPIOA, &GPIO_InitStruct);

  /*Configure GPIO pins : IG2_Pin IG1_Pin */
  GPIO_InitStruct.Pin = IG2_Pin|IG1_Pin;
  GPIO_InitStruct.Mode = GPIO_MODE_OUTPUT_PP;
  GPIO_InitStruct.Pull = GPIO_NOPULL;
  GPIO_InitStruct.Speed = GPIO_SPEED_FREQ_LOW;
  HAL_GPIO_Init(GPIOB, &GPIO_InitStruct);

  /*Configure GPIO pins : SOV9_Pin SOV8_Pin SOV7_Pin SOV6_Pin */
  GPIO_InitStruct.Pin = SOV9_Pin|SOV8_Pin|SOV7_Pin|SOV6_Pin;
  GPIO_InitStruct.Mode = GPIO_MODE_OUTPUT_PP;
  GPIO_InitStruct.Pull = GPIO_NOPULL;
  GPIO_InitStruct.Speed = GPIO_SPEED_FREQ_LOW;
  HAL_GPIO_Init(GPIOC, &GPIO_InitStruct);

}

void Error_Handler(void)
{
  __disable_irq();
  while (1)
  {
  }
}

/************************ (C) COPYRIGHT STMicroelectronics *****END OF FILE****/
